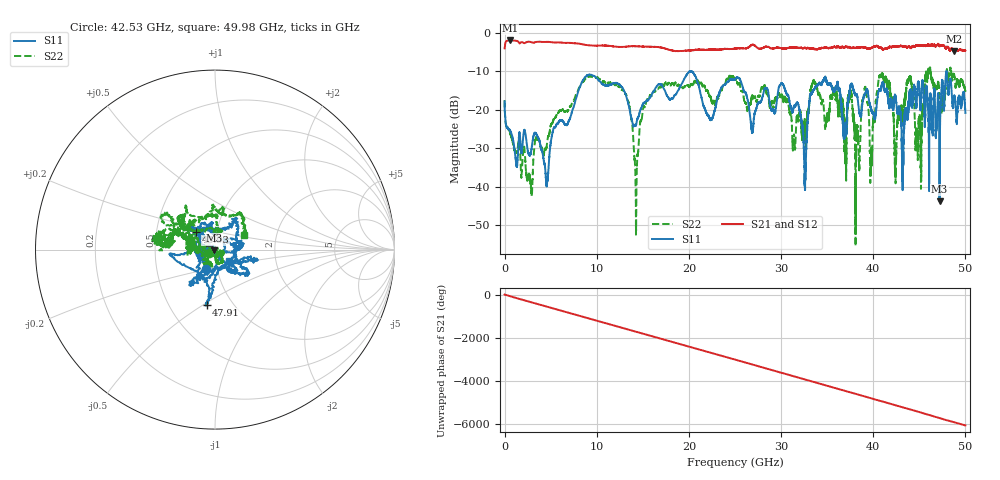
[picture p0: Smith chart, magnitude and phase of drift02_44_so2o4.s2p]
!Created with skrf (http://scikit-rf.org).
# Hz S RI R 50.0
!freq ReS11 ImS11 ReS21 ImS21 ReS12 ImS12 ReS22 ImS22
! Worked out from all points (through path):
!   10001 points, 300 kHz to 50 GHz, reference 50 ohm
!   highest |S21| = -1.99 dB at 585.3 MHz (marker M1); lowest = -4.9 dB at 48.76 GHz (marker M2)
!   group delay of S21, straight-line fit = 337 ps
!   lowest |S11| = -43.8 dB at 47.2 GHz (marker M3), VSWR 1.01, Z = 49.4 - j0.315 ohm
!   |S11| at or under -10 dB: start of sweep to 20.06 GHz; 20.20747 GHz to 20.22222 GHz (14.75 MHz wide, 0.073 % of centre); 20.24 GHz to end of sweep (the widest 3 of 5)
!   |S22| runs from -55.4 to -9.0 dB; largest |S21 - S12| = 0.036
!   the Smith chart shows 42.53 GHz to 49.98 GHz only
!   S11 on the Smith chart (normalised r, x): 42.53 GHz: 0.89, -0.19; 43.93 GHz: 0.79, +0.16; 47.91 GHz: 0.76, -0.52; 49.98 GHz: 1.16, -0.15
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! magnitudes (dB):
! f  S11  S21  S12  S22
! 300 kHz  -17.8  -4.0  -4.0  -17.5
! 585.3 MHz  -25.3  -2.0  -2.0  -26.0
! 4.565 GHz  -39.9  -2.4  -2.4  -29.4
! 8.335 GHz  -13.0  -2.9  -2.9  -13.2
! 13.01 GHz  -15.3  -3.6  -3.6  -15.7
! 14.28 GHz  -23.8  -3.5  -3.5  -49.3
! 16.67 GHz  -13.4  -3.7  -3.7  -14.5
! 25 GHz  -12.1  -4.1  -4.1  -12.1
! 30.18 GHz  -13.3  -4.0  -4.1  -16.8
! 32.56 GHz  -39.8  -3.9  -3.9  -24.1
! 33.34 GHz  -15.9  -4.1  -4.1  -13.6
! 38.29 GHz  -16.7  -4.0  -3.9  -24.5
! 41.67 GHz  -18.3  -3.8  -3.9  -12.8
! 42.53 GHz  -18.5  -3.5  -3.5  -28.5
! 43.93 GHz  -16.8  -3.6  -3.6  -11.6
! 44.99 GHz  -14.3  -3.4  -3.3  -21.9
! 45.9 GHz  -16.9  -3.3  -3.2  -11.5
! 47.2 GHz  -43.8  -3.5  -3.4  -16.3
! 47.91 GHz  -10.2  -4.1  -4.1  -11.6
! 48.76 GHz  -16.6  -4.9  -4.8  -10.7
! 49.98 GHz  -19.8  -4.6  -4.6  -14.8
! 50 GHz  -20.8  -4.6  -4.6  -14.9
